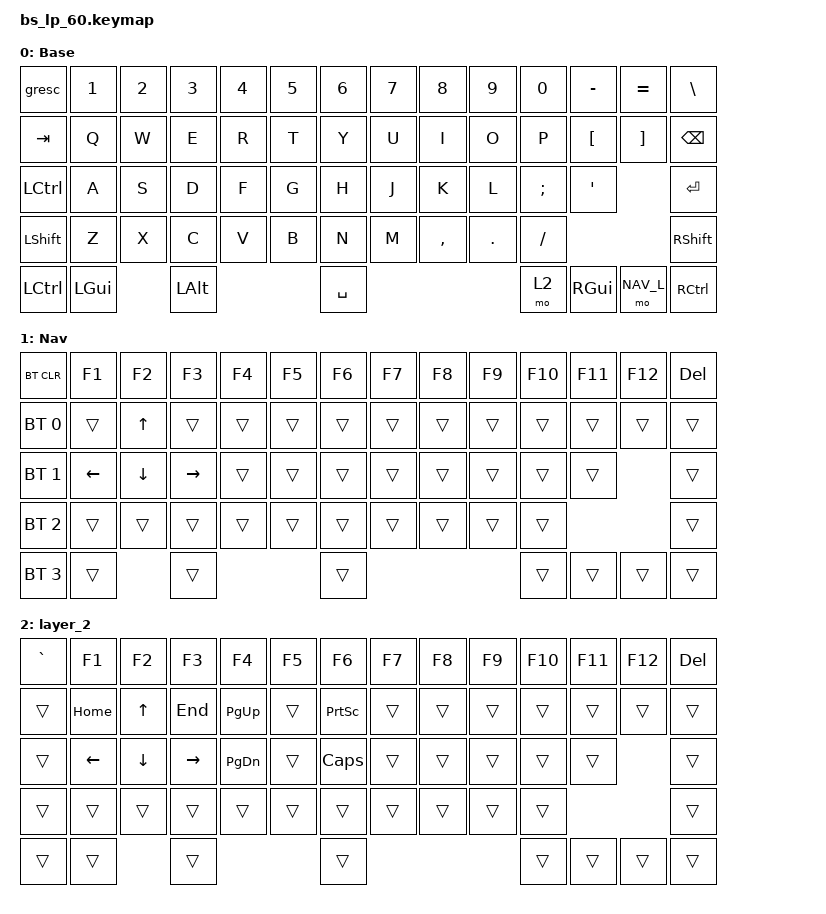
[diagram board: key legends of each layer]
/*
 * Copyright (c) 2021 Cole Smith
 *
 * SPDX-License-Identifier: MIT
 */

#include <dt-bindings/zmk/reset.h>
#include <behaviors.dtsi>
#include <dt-bindings/zmk/bt.h>
#include <dt-bindings/zmk/keys.h>

#define BAS_L 0
#define NAV_L 1

/ {
    keymap {
        compatible = "zmk,keymap";

        default_layer {
            // ------------------------------------------------------------------------------------------
            // | ESC |  1  |  2  |  3  |  4  |  5  |  6  |  7  |  8  |  9  |  0  |  -  |  =  |   BKSP   |
            // | TAB  |  Q  |  W  |  E  |  R  |  T  |  Y  |  U  |  I  |  O  |  P  |  [  |  ]  |   "|"   |
            // | CAPS  |  A  |  S  |  D  |  F  |  G  |  H  |  J  |  K  |  L  |  ;  |  '  |     ENTER    |
            // |  SHIFT  |  Z  |  X  |  C  |  V  |  B  |  N  |  M  |  ,  |  .  |  /  |      SHIFT       |
            // |  CTL  |  WIN  |  ALT  |            SPACE              |  ALT  |  WIN  |  MO(1) |  CTL  |
            // ------------------------------------------------------------------------------------------

            label = "Base";
            bindings = <
&gresc            &kp N1    &kp N2  &kp N3    &kp N4  &kp N5  &kp N6     &kp N7  &kp N8     &kp N9   &kp N0    &kp MINUS  &kp EQUAL  &kp BACKSLASH
&kp TAB           &kp Q     &kp W   &kp E     &kp R   &kp T   &kp Y      &kp U   &kp I      &kp O    &kp P     &kp LBKT   &kp RBKT   &kp BACKSPACE
&kp LEFT_CONTROL  &kp A     &kp S   &kp D     &kp F   &kp G   &kp H      &kp J   &kp K      &kp L    &kp SEMI  &kp SQT               &kp RET
&kp LSHFT         &kp Z     &kp X   &kp C     &kp V   &kp B   &kp N      &kp M   &kp COMMA  &kp DOT  &kp FSLH                        &kp RSHFT
&kp LCTRL         &kp LGUI          &kp LALT                  &kp SPACE                              &mo 2     &kp RGUI   &mo NAV_L  &kp RCTRL
            >;
        };

        ble_layer {
            // ------------------------------------------------------------------------------------------------
            // | BT CLR | F1  | F2  | F3  | F4  | F5  | F6  | F7  | F8  | F9  | F10  | F11 | F12 |            |
            // |  BT 1   |   |  UP |   |       |       |       |       |   |     |    |     |     |           |
            // |   BT 2   | LT |  DN  | RT |       |       |       |       |   |     |   |     |              |
            // |    BT 3     |     |      |      |     |     |     |     |     |     |     |                  |
            // |   BT 4  |      |      |                                    | PRT SCR |       |       |  DEL  |
            // ------------------------------------------------------------------------------------------------

            label = "Nav";
            bindings = <
&bt BT_CLR    &kp F1    &kp F2    &kp F3     &kp F4  &kp F5  &kp F6  &kp F7  &kp F8  &kp F9  &kp F10  &kp F11  &kp F12  &kp DEL
&bt BT_SEL 0  &trans    &kp UP    &trans     &trans  &trans  &trans  &trans  &trans  &trans  &trans   &trans   &trans   &trans
&bt BT_SEL 1  &kp LEFT  &kp DOWN  &kp RIGHT  &trans  &trans  &trans  &trans  &trans  &trans  &trans   &trans            &trans
&bt BT_SEL 2  &trans    &trans    &trans     &trans  &trans  &trans  &trans  &trans  &trans  &trans                     &trans
&bt BT_SEL 3  &trans              &trans                     &trans                          &trans   &trans   &trans   &trans
            >;
        };

        layer_2 {
            bindings = <
&kp GRAVE  &kp F1    &kp F2        &kp F3     &kp F4     &kp F5  &kp F6           &kp F7  &kp F8  &kp F9  &kp F10  &kp F11  &kp F12  &kp DEL
&trans     &kp HOME  &kp UP_ARROW  &kp END    &kp PG_UP  &trans  &kp PRINTSCREEN  &trans  &trans  &trans  &trans   &trans   &trans   &trans
&trans     &kp LEFT  &kp DOWN      &kp RIGHT  &kp PG_DN  &trans  &kp CAPS         &trans  &trans  &trans  &trans   &trans            &trans
&trans     &trans    &trans        &trans     &trans     &trans  &trans           &trans  &trans  &trans  &trans                     &trans
&trans     &trans                  &trans                        &trans                                   &trans   &trans   &trans   &trans
            >;
        };
    };
};
